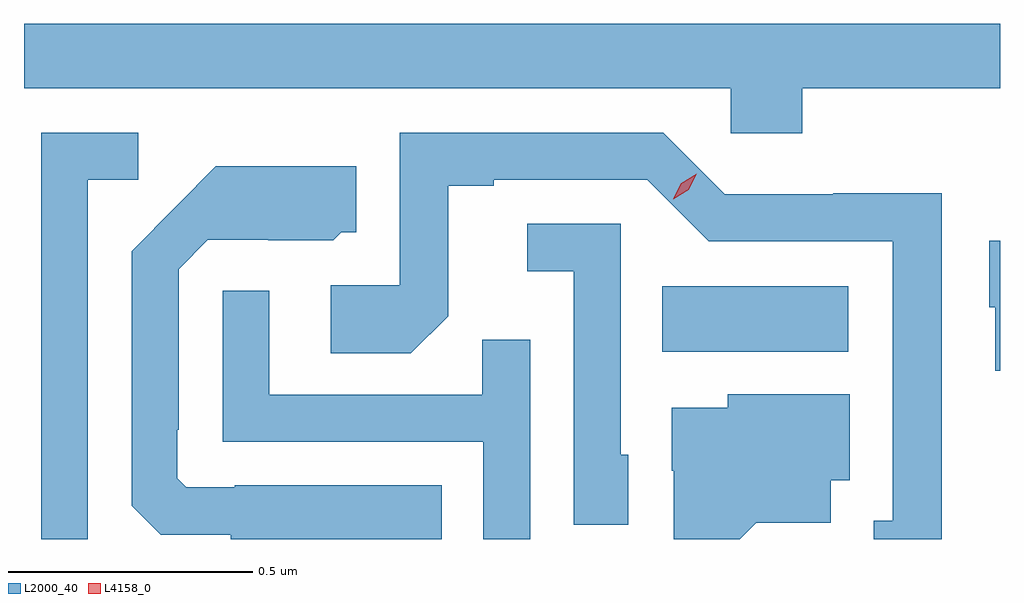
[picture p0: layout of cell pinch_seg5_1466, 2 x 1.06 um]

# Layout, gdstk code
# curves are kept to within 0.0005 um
import gdstk
lib = gdstk.Library(unit=1e-6, precision=1e-09)
def R(c, l, rs):  # rectangles x0, y0, x1, y1
    for r in rs: c.add(gdstk.rectangle(r[:2], r[2:], *l))
def P(c, l, *ps):  # polygons
    for p in ps: c.add(gdstk.Polygon(p, *l))
L2000_40 = (2000, 40)
L4158_0 = (4158, 0)

pinch_seg5_1466 = lib.new_cell('pinch_seg5_1466')
R(pinch_seg5_1466, L2000_40, [(128.266,914.828,128.647,914.962)])
P(pinch_seg5_1466, L2000_40, [(128.553,915.368),(128.958,915.368),(128.958,915.5),(126.958,915.5),(126.958,915.368),(128.406,915.368),(128.406,915.275),(128.553,915.275)],
  [(128.839,915.152),(128.616,915.152),(128.616,915.15),(128.394,915.15),(128.268,915.276),(127.728,915.276),(127.728,914.964),(127.587,914.964),(127.587,914.824),(127.751,914.824),(127.827,914.9),(127.827,915.168),(127.921,915.168),(127.921,915.18),(128.235,915.18),(128.361,915.054),(128.738,915.054),(128.738,914.481),(128.699,914.481),(128.699,914.443),(128.839,914.443)],
  [(127.089,915.18),(127.192,915.18),(127.192,915.276),(126.993,915.276),(126.993,914.443),(127.089,914.443)],
  [(127.814,914.554),(127.39,914.554),(127.39,914.55),(127.29,914.55),(127.272,914.568),(127.272,914.668),(127.275,914.668),(127.275,914.997),(127.335,915.057),(127.458,915.057),(127.458,915.056),(127.592,915.056),(127.608,915.072),(127.639,915.072),(127.639,915.208),(127.351,915.208),(127.179,915.034),(127.179,914.512),(127.238,914.453),(127.382,914.453),(127.382,914.443),(127.814,914.443)],
  [(128.196,914.616),(128.181,914.616),(128.181,915.09),(127.989,915.09),(127.989,914.993),(128.085,914.993),(128.085,914.473),(128.196,914.473)],
  [(128.958,915.055),(128.936,915.055),(128.936,914.919),(128.948,914.919),(128.948,914.789),(128.958,914.789)],
  [(127.995,914.852),(127.897,914.852),(127.897,914.739),(127.461,914.739),(127.461,914.953),(127.365,914.953),(127.365,914.643),(127.899,914.643),(127.899,914.443),(127.995,914.443)],
  [(128.459,914.477),(128.611,914.477),(128.611,914.564),(128.65,914.564),(128.65,914.74),(128.4,914.74),(128.4,914.713),(128.285,914.713),(128.285,914.584),(128.289,914.584),(128.289,914.443),(128.425,914.443)])
P(pinch_seg5_1466, L4158_0, [(128.288,915.14),(128.288,915.141),(128.305,915.173),(128.337,915.192),(128.337,915.192),(128.337,915.192),(128.32,915.16),(128.288,915.14)])

lib.write_gds('pinch_seg5_1466.gds')
